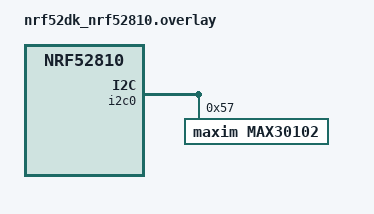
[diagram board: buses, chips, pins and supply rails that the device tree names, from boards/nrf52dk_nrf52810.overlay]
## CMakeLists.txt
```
#
# Copyright (c) 2022 Jacob Tinkhauser
# Copyright (c) 2022 EVERGREEN FUND 501(c)3
#
# SPDX-License-Identifier: AGPL-3.0-or-later

# Point to this project's root directory.
set(MAX_WORK_DIR ${CMAKE_CURRENT_LIST_DIR} CACHE PATH "Max30102 driver root directory")

# Subdirectories
add_subdirectory(max30102)

# Include headers
zephyr_include_directories(max30102)
```

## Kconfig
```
#
# Copyright (c) 2022 Jacob Tinkhauser
# Copyright (c) 2022 EVERGREEN FUND 501(c)3
#

menu "Max30102 driver"
rsource "max30102/Kconfig"
endmenu
```

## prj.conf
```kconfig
CONFIG_GPIO=y

# choose UART console
CONFIG_UART_CONSOLE=y

# General config
CONFIG_LOG=y
CONFIG_LOG_BUFFER_SIZE=2048
CONFIG_LOG_DEFAULT_LEVEL=4
CONFIG_LOG2_MODE_DEFERRED=y
CONFIG_CBPRINTF_FP_SUPPORT=y
CONFIG_STDOUT_CONSOLE=y
CONFIG_I2C=y
CONFIG_SENSOR=y
CONFIG_SENSOR_LOG_LEVEL_DBG=y


#MAX30102
CONFIG_MAX30102=y
CONFIG_MAX30102_SPO2_MODE=y
CONFIG_MAX30102_FIFO_A_FULL=2
CONFIG_MAX30102_TRIGGER=y
CONFIG_MAX30102_TRIGGER_GLOBAL_THREAD=y

# BLE
CONFIG_BT=y
#CONFIG_BT_DEBUG_LOG=y
CONFIG_BT_PERIPHERAL=y
CONFIG_BT_DEVICE_NAME="BT832A"
CONFIG_BT_GATT_CLIENT=y
CONFIG_BT_HCI_ACL_FLOW_CONTROL=y
CONFIG_BT_USER_PHY_UPDATE=y
CONFIG_BT_CTLR_PHY_2M=y
CONFIG_BT_CTLR_PHY_CODED=n
CONFIG_BT_ATT_PREPARE_COUNT=2
CONFIG_BT_CONN_TX_MAX=2
CONFIG_BT_L2CAP_TX_BUF_COUNT=2
CONFIG_BT_BUF_ACL_TX_SIZE=250
CONFIG_BT_BUF_ACL_RX_SIZE=250
CONFIG_BT_L2CAP_TX_MTU=250
```

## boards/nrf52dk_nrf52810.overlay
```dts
/*
 * Copyright (c) 2021, EVERGREEN FUND 501(c)(3)
 *
 * SPDX-License-Identifier: AGPL-3.0-or-later
 */

&i2c0 {
	max30102@57 {
        compatible = "maxim,max30102";
        reg = <0x57>;
		/* int-gpios = <&gpio0 0 GPIO_ACTIVE_HIGH>; */ /* P0.00 / 3 */
        label = "MAX30102";

	};
};
```

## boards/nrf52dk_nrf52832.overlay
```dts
/*
 * Copyright (c) 2021 Jacob Tinkhauser
 * Copyright (c) 2021 Red Door Foundation, Inc
 *
 * SPDX-License-Identifier: AGPL-3.0-or-later
 */

&i2c0 {
	max30102@57 {
        compatible = "maxim,max30102";
        reg = <0x57>;
		/* int-gpios = <&gpio0 0 GPIO_ACTIVE_HIGH>; */ /* P0.00 / 3 */
        label = "MAX30102";

	};
};
```

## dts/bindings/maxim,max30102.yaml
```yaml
# Copyright (c) 2021 Jacob Tinkhauser
# Copyright (c) 2021 EVERGREEN FUND 501(c)3

# SPDX-License-Identifier: AGPL-3.0-or-later

description: MAX30102 heart rate sensor

compatible: "maxim,max30102"

include: i2c-device.yaml

properties:
  smp-ave:
    type: int
    required: false
    default: 0
    description: |
      To reduce the amount of data throughput, adjacent samples (in each
      individual channel) can be averaged and decimated on the chip by
      setting this register. Set to 0 for no averaging.
    enum:
      - 0 # 1 sample (no averaging)
      - 1 # 2 samples
      - 2 # 4 samples
      - 3 # 8 samples
      - 4 # 16 samples
      - 5 # 32 samples
  fifo-rollover-en:
    type: boolean
    description: |
      Controls the behavior of the FIFO when the FIFO becomes completely
      filled with data. If true, the FIFO address rolls over to zero and the
      FIFO continues to fill with new data. If false, then the FIFO is
      not updated until FIFO_DATA is read or the WRITE/READ pointer
      positions are changed.
  fifo-a-full:
    type: int
    required: false
    default: 0
    description: |
      Set the trigger for the FIFO_A_FULL interrupt. 
      Valid range: 0-15
  mode:
    type: int
    required: true
    description: |
      heart-rate-mode is red LED only
      spo2-mode is red and IR LEDs
      multi-led-mode is red and/or IR LEDs
    enum:
      - 2 # "heart-rate-mode"
      - 3 # "spo2-mode"
      - 7 # "multi-led-mode"
  adc-rge: 
    type: int
    required: false
    default: 2
    description: Set the ADC's full-scale range.
    enum:
      - 0 # 7.81 pA/LSB
      - 1 # 15.63 pA/LSB
      - 2 # 31.25 pA/LSB
      - 3 # 62.5 pA/LSB
  sr:
    type: int
    required: false
    default: 0
    description: | 
      Set the effective sampling rate with one sample consisting of one
      pulse/conversion per active LED channel. In SpO2 mode, these means
      one IR pulse/conversion and one red pulse/conversion per sample
      period.
    enum:
      - 0 # 50 Hz
      - 1 # 100 Hz
      - 2 # 200 Hz
      - 3 # 400 Hz
      - 4 # 800 Hz
      - 5 # 1000 Hz
      - 6 # 1600 Hz
      - 7 # 3200 Hz
  led1-pa:
    type: int
    required: false
    default: 0x33
    description: |
      Set the pulse amplitude to control the LED1 (red) current. The actual
      measured LED current for each part can vary significantly due to the
      trimming methodology. 
      Valid range: 0 - 0xff
      0x00 = 0.0 mA
      0x01 = 0.2 mA
      0x02 = 0.4 mA
      ...
      0x0f = 3.1 mA
      ...
      0xff = 50.0 mA
  led2-pa:
    type: int
    required: false
    default: 0x33
    description: |
      Set the pulse amplitude to control the LED2 (IR) current. The actual
      measured LED current for each part can vary significantly due to the
      trimming methodology. 
      Valid range: 0 - 0xff
      0x00 = 0.0 mA
      0x01 = 0.2 mA
      0x02 = 0.4 mA
      ...
      0x0f = 3.1 mA
      ...
      0xff = 50.0 mA
  # TODO: Implement multi-led-mode support
  intb-gpios:
    type: phandle-array
    required: false
```

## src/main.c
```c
/*
 * Copyright (c) 2021, EVERGREEN FUND 501(c)(3)
 *
 * SPDX-License-Identifier: AGPL-3.0-or-later
 */

#include <bluetooth/bluetooth.h>
#include <bluetooth/conn.h>
#include <bluetooth/gatt.h>
#include <bluetooth/hci.h>
#include <bluetooth/uuid.h>
#include <device.h>
#include <devicetree.h>
#include <drivers/gpio.h>
#include <errno.h>
#include <logging/log.h>
#include <stddef.h>
#include <string.h>
#include <sys/byteorder.h>
#include <sys/printk.h>
#include <zephyr.h>
#include <zephyr/types.h>

#include "max30102.h"

/* 1000 msec = 1 sec */
#define ZEPHYR_OK 0
#define SLEEP_TIME_MS 1000
#define MAX30102_INT_N ((uint8_t)13)  ///< P0.13 pin used for receiving interrupts from MAX30102
#define DEBUG_LED_1 ((uint8_t)17)     ///< P0.17 pin used Debug LED 1
#define DEBUG_LED_2 ((uint8_t)18)     ///< P0.18 pin used Debug LED 2

/* Static Functions */
static int gpio_init(void);
static void max30102_irq_cb(const struct device *port, struct gpio_callback *cb, gpio_port_pins_t pins);
static void interrupt_workQueue_handler(struct k_work *wrk);
static ssize_t recv(struct bt_conn *conn,
                    const struct bt_gatt_attr *attr, const void *buf,
                    uint16_t len, uint16_t offset, uint8_t flags);

/* Global variables */
const struct device *gpio_0_dev;
struct gpio_callback callback;
struct k_work interrupt_work_item;  ///< interrupt work item
const struct device *dev;

struct Led_sample {
    uint32_t red;
    uint32_t ir;
};

struct __attribute__((__packed__)) Sample_packet {
    struct Led_sample samples[30];
    uint8_t sample_num;
    char end_bytes[2];
};

/* Helper function to reverse endianness */
inline uint32_t reverse_32(uint32_t value) {
    return (((value & 0x000000FF) << 24) |
            ((value & 0x0000FF00) << 8) |
            ((value & 0x00FF0000) >> 8) |
            ((value & 0xFF000000) >> 24));
}

/* For Logging */
LOG_MODULE_REGISTER(app, CONFIG_LOG_DEFAULT_LEVEL);

static uint32_t rand_val = 1;

/* BT832A Custom Service  */
static struct bt_uuid_128 sensor_service_uuid = BT_UUID_INIT_128(
    BT_UUID_128_ENCODE(0x0000cafe, 0xb0ba, 0x8bad, 0xf00d, 0xdeadbeef0000));

/* Sensor Control Characteristic */
static struct bt_uuid_128 sensor_ctrl_char_uuid = BT_UUID_INIT_128(
    BT_UUID_128_ENCODE(0x0001cafe, 0xb0ba, 0x8bad, 0xf00d, 0xdeadbeef0000));

/* Sensor Data Characteristic */
static struct bt_uuid_128 sensor_data_notif_uuid = BT_UUID_INIT_128(
    BT_UUID_128_ENCODE(0x0002cafe, 0xb0ba, 0x8bad, 0xf00d, 0xdeadbeef0000));

#define DEVICE_NAME CONFIG_BT_DEVICE_NAME
#define DEVICE_NAME_LEN (sizeof(DEVICE_NAME) - 1)
#define ADV_LEN 12

/* Advertising data */
static uint8_t manuf_data[ADV_LEN] = {
    0x01 /*SKD version */,
    0x83 /* STM32WB - P2P Server 1 */,
    0x00 /* GROUP A Feature  */,
    0x00 /* GROUP A Feature */,
    0x00 /* GROUP B Feature */,
    0x00 /* GROUP B Feature */,
    0x00, /* BLE MAC start -MSB */
    0x00,
    0x00,
    0x00,
    0x00,
    0x00, /* BLE MAC stop */
};

static const struct bt_data ad[] = {
    BT_DATA_BYTES(BT_DATA_FLAGS, (BT_LE_AD_GENERAL | BT_LE_AD_NO_BREDR)),
    BT_DATA(BT_DATA_NAME_COMPLETE, DEVICE_NAME, DEVICE_NAME_LEN),
    BT_DATA(BT_DATA_MANUFACTURER_DATA, manuf_data, ADV_LEN)};

/* BLE connection */
struct bt_conn *conn;
/* Notification state */
volatile bool notify_enable;

static void mpu_ccc_cfg_changed(const struct bt_gatt_attr *attr, uint16_t value) {
    ARG_UNUSED(attr);
    notify_enable = (value == BT_GATT_CCC_NOTIFY);
    LOG_INF("Notification %s", notify_enable ? "enabled" : "disabled");
}

/* The BT832A board is acting as GATT server.
 * The other side is the BLE GATT client.
 */

/* BT832A GATT services and characteristic */

BT_GATT_SERVICE_DEFINE(bt832a_svc,
                       BT_GATT_PRIMARY_SERVICE(&sensor_service_uuid),
                       BT_GATT_CHARACTERISTIC(&sensor_ctrl_char_uuid.uuid,
                                              BT_GATT_CHRC_READ | BT_GATT_CHRC_WRITE_WITHOUT_RESP,
                                              BT_GATT_PERM_WRITE, NULL, recv, (void *)1),
                       BT_GATT_CHARACTERISTIC(&sensor_data_notif_uuid.uuid,
                                              BT_GATT_CHRC_NOTIFY, BT_GATT_PERM_READ, NULL, NULL,
                                              &rand_val),
                       BT_GATT_CCC(mpu_ccc_cfg_changed,
                                   BT_GATT_PERM_READ | BT_GATT_PERM_WRITE), );

static ssize_t recv(struct bt_conn *conn,
                    const struct bt_gatt_attr *attr, const void *buf,
                    uint16_t len, uint16_t offset, uint8_t flags) {
    LOG_INF("Sensor Control Data Received!");

    return 0;
}

static void bt_ready(int err) {
    if (err) {
        LOG_ERR("Bluetooth init failed (err %d)", err);
        return;
    }
    LOG_INF("Bluetooth initialized");
    /* Start advertising */
    err = bt_le_adv_start(BT_LE_ADV_CONN, ad, ARRAY_SIZE(ad), NULL, 0);
    if (err) {
        LOG_ERR("Advertising failed to start (err %d)", err);
        return;
    }

    LOG_INF("Configuration mode: waiting connections...");
}

static void connected(struct bt_conn *connected, uint8_t err) {
    if (err) {
        LOG_ERR("Connection failed (err %u)", err);
    } else {
        LOG_INF("Connected");
        if (!conn) {
            conn = bt_conn_ref(connected);
        }
    }
}

static void disconnected(struct bt_conn *disconn, uint8_t reason) {
    if (conn) {
        bt_conn_unref(conn);
        conn = NULL;
    }

    LOG_INF("Disconnected (reason %u)", reason);
}

static struct bt_conn_cb conn_callbacks = {
    .connected = connected,
    .disconnected = disconnected,
};

void main(void) {
    LOG_ERR("This is a error message!");
    LOG_WRN("This is a warning message!");
    LOG_INF("This is a information message!");
    LOG_DBG("This is a debugging message!");
    int ret;
    bool led_1_is_on = true;

    ret = gpio_init();
    if (ret == ZEPHYR_OK) {
        LOG_INF("GPIOs Int'd!");
    }

    dev = DEVICE_DT_GET_ANY(maxim_max30102);

    if (dev == NULL) {
        LOG_ERR("Could not get max30102 device\n");
        return;
    }
    if (!device_is_ready(dev)) {
        LOG_ERR("max30102 device %s is not ready\n", dev->name);
        return;
    }

    /* BLE part */
    bt_conn_cb_register(&conn_callbacks);

    /* Initialize the Bluetooth Subsystem */
    ret = bt_enable(bt_ready);
    if (ret) {
        LOG_ERR("Bluetooth init failed (err %d)", ret);
    }

    /* Clear any existing interrupts */
    sensor_sample_fetch(dev);

    while (1) {
        gpio_pin_set(gpio_0_dev, DEBUG_LED_1, (int)led_1_is_on);
        led_1_is_on = !led_1_is_on;
        k_msleep(SLEEP_TIME_MS);
    }
}

static int gpio_init(void) {
    int ret = ZEPHYR_OK;

    gpio_0_dev = device_get_binding("GPIO_0");
    if (gpio_0_dev == NULL) {
        LOG_ERR("***ERROR: GPIO device binding!");
        return -1;
    }

    /* LED for debug purposes */
    ret = gpio_pin_configure(gpio_0_dev, DEBUG_LED_1, GPIO_OUTPUT_ACTIVE);
    ret += gpio_pin_configure(gpio_0_dev, DEBUG_LED_2, GPIO_OUTPUT_ACTIVE);
    /* Initialize MAX30102 Interrupt input */
    ret += gpio_pin_configure(gpio_0_dev, MAX30102_INT_N, GPIO_INPUT | GPIO_PULL_UP);
    ret += gpio_pin_interrupt_configure(gpio_0_dev, MAX30102_INT_N, GPIO_INT_EDGE_FALLING);
    gpio_init_callback(&callback, max30102_irq_cb, BIT(MAX30102_INT_N));
    ret += gpio_add_callback(gpio_0_dev, &callback);
    if (ret != 0) {
        LOG_ERR("***ERROR: GPIO initialization\n");
    }
    gpio_pin_set(gpio_0_dev, DEBUG_LED_2, 0);
    k_work_init(&interrupt_work_item, interrupt_workQueue_handler);

    return ret;
}

/**
 * @brief Callback function for handling interrupt coming from the MAX30102 (MAX30102_INT_N pin).
 *
 * @param port Runtime device structure (in ROM) per driver instance.
 * @param cb GPIO callback structure
 * @param pins Identifies a set of pins associated with a port
 * @warning Called at ISR Level, no actual workload should be implemented here
 */
static void max30102_irq_cb(const struct device *port, struct gpio_callback *cb, gpio_port_pins_t pins) {
    k_work_submit(&interrupt_work_item);
}

/**
 * @brief IntWorkQueue handler. Used to process interrupts coming from MAX30102 interrupt pin
 * Because all activity is performed on cooperative level no addition protection against data corruption is required
 * @param wrk work object
 * @warning  Called by system scheduled in cooperative level.
 */
static void interrupt_workQueue_handler(struct k_work *wrk) {
    int err;
    static uint8_t sample_num;
    sample_num++;
    LOG_INF("MAX30102 Interrupt: %d!", sample_num);
    gpio_pin_toggle(gpio_0_dev, DEBUG_LED_2);

    // Read interrupt status registers
    uint8_t status_1 = max30102_get_interrupt_status_1(dev);
    uint8_t status_2 = max30102_get_interrupt_status_2(dev);
    LOG_INF("INT 1 status=%i", status_1);
    LOG_INF("INT 2 status=%i", status_2);

    // max30102 is ready for temp reading (DIE_TEMP_RDY)
    if (status_2 == 2) {
        struct max30102_temp temp = {0};
        max30102_get_temp(dev, &temp);
		uint8_t offset = 0;
		//max30102_get_temp_offset(dev, offset)
    }
    // FIFO is almost full (A_FULL)
    else if (status_1 == 128) {
        // Read data from MAX30102
        struct sensor_value red;
        struct sensor_value ir;

        struct Sample_packet packet = {.sample_num = sample_num, .end_bytes = {'\r', '\n'}};
        // struct Sample_packet packet = {.end_bytes = {'\r', '\n'}};
        // struct Sample_packet packet;

        for (int i = 0; i < 30; i++) {
            sensor_sample_fetch(dev);
            sensor_channel_get(dev, SENSOR_CHAN_RED, &red);
            sensor_channel_get(dev, SENSOR_CHAN_IR, &ir);

            // Print red LED data
            // LOG_INF("RED=%x", red.val1);
            // LOG_INF("IR=%x", ir.val1);

            packet.samples[i].red = reverse_32(red.val1);
            packet.samples[i].ir = reverse_32(ir.val1);
        }
        if (conn) {
            if (notify_enable) {
                err = bt_gatt_notify(NULL, &bt832a_svc.attrs[4],
                                     &packet, sizeof(packet));
                if (err) {
                    LOG_ERR("Notify error: %d", err);
                } else {
                    LOG_INF("Send notify ok");
                    rand_val++;
                }
            } else {
                LOG_INF("Notify not enabled");
            }
        } else {
            LOG_INF("BLE not connected");
        }
    }
    // Ambient Light Cancellation Overflow (ALC_OVF)
    else {
        // TODO: deal with corrupted FIFO
    }
}
```
